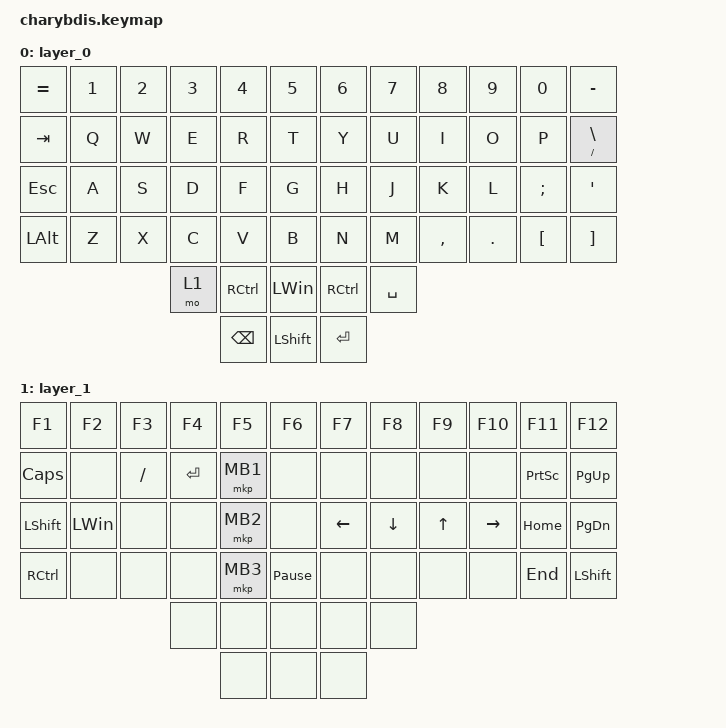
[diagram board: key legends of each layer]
#include <dt-bindings/zmk/mouse.h>
#include <behaviors.dtsi>
#include <dt-bindings/zmk/keys.h>
#include <dt-bindings/zmk/pointing.h>

&lt {
    tapping-term-ms = <200>;
    flavor = "balanced";
    quick-tap-ms = <150>;
};

/ {
};

/ {
    keymap {
        compatible = "zmk,keymap";

        layer_0 {
            bindings = <
&kp EQUAL     &kp N1  &kp N2  &kp N3  &kp N4         &kp N5            &kp N6     &kp N7     &kp N8     &kp N9      &kp N0            &kp MINUS
&kp TAB       &kp Q   &kp W   &kp E   &kp R          &kp T             &kp Y      &kp U      &kp I      &kp O       &kp P             &mt SLASH BSLH
&kp ESC       &kp A   &kp S   &kp D   &kp F          &kp G             &kp H      &kp J      &kp K      &kp L       &kp SEMI          &kp SQT
&kp LEFT_ALT  &kp Z   &kp X   &kp C   &kp V          &kp B             &kp N      &kp M      &kp COMMA  &kp PERIOD  &kp LEFT_BRACKET  &kp RIGHT_BRACKET
                              &mo 1   &kp RCTRL      &kp LWIN          &kp RCTRL  &kp SPACE
                                      &kp BACKSPACE  &kp LEFT_SHIFT    &kp ENTER
            >;

            trackball-bindings = <&tmv_coarse>;
        };

        layer_1 {
            bindings = <
&kp F1          &kp F2    &kp F3     &kp F4     &kp F5    &kp F6             &kp F7          &kp F8    &kp F9        &kp F10    &kp F11          &kp F12
&kp CAPS        &none     &kp SLASH  &kp ENTER  &mkp MB1  &none              &none           &none     &none         &none      &kp PRINTSCREEN  &kp PAGE_UP
&kp LEFT_SHIFT  &kp LWIN  &none      &none      &mkp MB2  &none              &kp LEFT_ARROW  &kp DOWN  &kp UP_ARROW  &kp RIGHT  &kp HOME         &kp PAGE_DOWN
&kp RCTRL       &none     &none      &none      &mkp MB3  &kp PAUSE_BREAK    &none           &none     &none         &none      &kp END          &kp LEFT_SHIFT
                                     &none      &none     &none              &none           &none
                                                &none     &none              &none
            >;

            trackball-bindings = <&tmv_coarse>;
        };

        /* layer_2 {
            bindings = <
&none  &none   &none    &none   &none         &none         &kp N1         &none         &none     &none  &none   &to 0
&none  &none   &none    &none   &none         &none         &none         &none          &rgb_ug RGB_BRD &rgb_ug RGB_BRI  &rgb_ug RGB_EFF   &rgb_ug RGB_TOG
&none  &none   &none    &none   &none         &none         &none         &mkp LCLK     &mkp RCLK  &none  &none   &none
&none  &none   &none    &none   &bt BT_NXT  &bt BT_CLR    &none         &none         &none     &none  &none   &none
                                   &none         &none         &none         &none         &none
                                                 &none         &none         &none
            >;
          trackball-bindings = <&tsl>;
            
        };

       Mouse {
            bindings = <
&none        &none         &none         &none         &none      &none         &none       &none      &none         &none         &none         &none
&none        &bt BT_SEL 0  &bt BT_SEL 1  &bt BT_SEL 3  &none      &bt BT_CLR    &bt BT_CLR  &none      &bt BT_SEL 2  &bt BT_SEL 1  &bt BT_SEL 0  &none
&none        &trans        &trans        &mkp MCLK     &trans     &none         &none       &trans     &mkp MCLK     &trans        &trans        &none
&bootloader  &trans        &mkp RCLK     &mo 4         &mkp LCLK  &mo 5         &mo 5       &mkp LCLK  &mo 4         &mkp RCLK     &trans        &bootloader
                                         &mo 5         &mkp LCLK  &mkp RCLK     &mkp RCLK   &mkp LCLK
                                                       &none      &trans        &trans
            >;

            
        };

        layer_4 {
            bindings = <
&trans  &trans  &trans     &trans     &trans     &trans       &trans     &trans     &trans     &trans     &trans  &trans
&trans  &trans  &trans     &trans     &trans     &trans       &trans     &trans     &trans     &trans     &trans  &trans
&trans  &trans  &trans     &mkp MCLK  &trans     &trans       &trans     &trans     &mkp MCLK  &trans     &trans  &trans
&trans  &trans  &mkp RCLK  &trans     &mkp LCLK  &trans       &trans     &mkp LCLK  &trans     &mkp RCLK  &trans  &trans
                           &trans     &mkp LCLK  &mkp RCLK    &mkp RCLK  &mkp LCLK
                                      &trans     &trans       &trans
            >;
                
                
                trackball-bindings = <&tsl>;
        };

        layer_5 {
            bindings = <
&trans  &trans  &trans     &trans     &trans     &trans       &trans     &trans     &trans     &trans     &trans  &trans
&trans  &trans  &trans     &trans     &trans     &trans       &trans     &trans     &trans     &trans     &trans  &trans
&trans  &trans  &trans     &mkp MCLK  &trans     &trans       &trans     &trans     &mkp MCLK  &trans     &trans  &trans
&trans  &trans  &mkp RCLK  &trans     &mkp LCLK  &trans       &trans     &mkp LCLK  &trans     &mkp RCLK  &trans  &trans
                           &trans     &mkp LCLK  &mkp RCLK    &mkp RCLK  &mkp LCLK
                                      &trans     &trans       &trans
            >;
                trackball-bindings = <&tmv_fine>;
                
        };*/
    };
};
